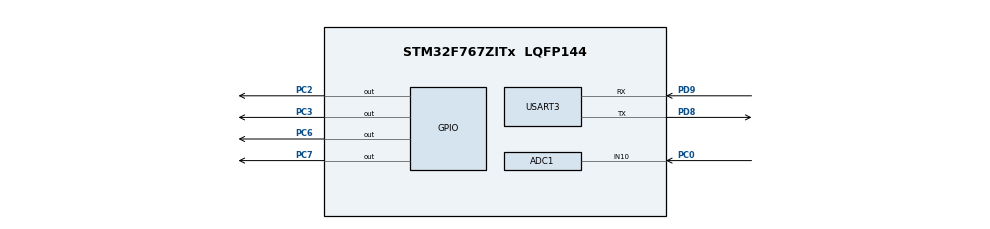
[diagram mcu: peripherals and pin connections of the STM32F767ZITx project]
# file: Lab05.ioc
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ADC1.Channel-0\#ChannelRegularConversion=ADC_CHANNEL_10
ADC1.ClockPrescaler=ADC_CLOCK_SYNC_PCLK_DIV4
ADC1.ContinuousConvMode=ENABLE
ADC1.EOCSelection=ADC_EOC_SEQ_CONV
ADC1.NbrOfConversionFlag=1
ADC1.Rank-0\#ChannelRegularConversion=1
ADC1.SamplingTime-0\#ChannelRegularConversion=ADC_SAMPLETIME_3CYCLES
ADC1.master=1
Dma.ADC1.0.Direction=DMA_PERIPH_TO_MEMORY
Dma.ADC1.0.FIFOMode=DMA_FIFOMODE_DISABLE
Dma.ADC1.0.Instance=DMA2_Stream0
Dma.ADC1.0.MemDataAlignment=DMA_MDATAALIGN_WORD
Dma.ADC1.0.MemInc=DMA_MINC_ENABLE
Dma.ADC1.0.Mode=DMA_CIRCULAR
Dma.ADC1.0.PeriphDataAlignment=DMA_PDATAALIGN_WORD
Dma.ADC1.0.PeriphInc=DMA_PINC_DISABLE
Dma.ADC1.0.Priority=DMA_PRIORITY_LOW
Dma.Request0=ADC1
Mcu.Family=STM32F7
Mcu.Name=STM32F767ZITx
Mcu.Package=LQFP144
NVIC.DMA2_Stream0_IRQn=true\:1\:0\:true\:false\:true\:false\:true\:true
NVIC.PriorityGroup=NVIC_PRIORITYGROUP_2
PC0.Signal=ADCx_IN10
PC2.Signal=GPIO_Output
PC3.Signal=GPIO_Output
PC6.Signal=GPIO_Output
PC7.Signal=GPIO_Output
PD8.Mode=Asynchronous
PD8.Signal=USART3_TX
PD9.Mode=Asynchronous
PD9.Signal=USART3_RX
ProjectManager.HeapSize=0x200
ProjectManager.StackSize=0x400
ProjectManager.TargetToolchain=STM32CubeIDE
RCC.HSE_VALUE=25000000
RCC.HSI_VALUE=16000000
RCC.LSE_VALUE=32768
RCC.USBFreq_Value=96000000
RCC.VCOOutputFreq_Value=192000000
SH.ADCx_IN10.0=ADC1_IN10,IN10
USART3.VirtualMode-Asynchronous=VM_ASYNC
board=custom

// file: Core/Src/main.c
/* USER CODE BEGIN Header */
/**
  ******************************************************************************
  * @file           : main.c
  * @brief          : Main program body
  ******************************************************************************
  * @attention
  *
  * Copyright (c) 2023 STMicroelectronics.
  * All rights reserved.
  *
  * This software is licensed under terms that can be found in the LICENSE file
  * in the root directory of this software component.
  * If no LICENSE file comes with this software, it is provided AS-IS.
  *
  ******************************************************************************
  */
/* USER CODE END Header */
#include "main.h"
#include "adc.h"
#include "dma.h"
#include "usart.h"
#include "gpio.h"

/* USER CODE BEGIN Includes */
#include "stdio.h"
#include "string.h"
/* USER CODE END Includes */

/* USER CODE BEGIN PV */
uint32_t adc_val[2];
int adc_avg_8;
int adc_avg_16;
/* USER CODE END PV */

void SystemClock_Config(void);

/* USER CODE BEGIN 0 */
int average8(int x)
{
	static int samples[8];
	static int i = 0;
	static int total = 0;

	total += x - samples[i];
	samples[i] = x;
	i = (i==7 ? 0: i+1);

//	Divide by 8 (shift right 3)
	return total>>3;
}

int average16(int x)
{
	static int samples[16];
	static int i = 0;
	static int total = 0;

	total += x - samples[i];
	samples[i] = x;
	i = (i==15 ? 0: i+1);

//	Divide by 16 (shift right 4)
	return total>>4;
}

void defaultDelay()
{
	HAL_Delay(100);
}

void delay(uint32_t delay)
{
	HAL_Delay(delay);
}

void printOut(char text[])
{
	while(__HAL_UART_GET_FLAG(&huart3,UART_FLAG_TC)==RESET){}
	HAL_UART_Transmit(&huart3, (uint8_t*) text, strlen(text), 100);
	delay(20);
}

void printOutLine(char text[])
{
	printOut(text);
	printOut("\n\r");
}

void displayHEX(uint32_t number)
{
	char hexString[9];
	sprintf(hexString, "%8x", (unsigned int) number);

	printOut(hexString);
}

void lightLed(int voltage)
{
	uint16_t pins[4] = {
			  GPIO_PIN_2,
			  GPIO_PIN_3,
			  GPIO_PIN_6,
			  GPIO_PIN_7,
	};

	int led;
	int voltRatio = 0xFFF/5;
	if (voltage < voltRatio)
	{
		led = 0;
	}
	else if (voltage < voltRatio*2)
	{
		led = 1;
	}
	else if (voltage < voltRatio*3)
	{
		led = 2;
	}
	else if (voltage < voltRatio*4)
	{
		led = 3;
	}
	else
	{
		led = 4;
	}

    for (int i=0; i<4; i++)
    {
        if(i<led)
        {
            HAL_GPIO_WritePin(GPIOC, pins[i], GPIO_PIN_SET);
        }
        else
        {
            HAL_GPIO_WritePin(GPIOC, pins[i], GPIO_PIN_RESET);
        }
    }
}

void getValueAdc(volatile uint32_t *adcVolt)
{
	while (HAL_ADC_PollForConversion(&hadc1, 100) != HAL_OK) {}
	uint32_t readValue = HAL_ADC_GetValue(&hadc1);

	adc_avg_8 = average8(readValue);
	adc_avg_16 = average16(readValue);

	lightLed(adc_avg_16);

	char outputText[50];
	float voltage = (float) readValue *3.3/4096;
	sprintf(outputText, "ADC1_CH1_CH10 \t 0x%08X \t Vin = %.2f V", (unsigned int) readValue,  voltage);
	printOutLine(outputText);
}

/* USER CODE END 0 */

int main(void)
{

  /* MCU Configuration--------------------------------------------------------*/

  /* Reset of all peripherals, Initializes the Flash interface and the Systick. */
  HAL_Init();

  /* Configure the system clock */
  SystemClock_Config();

  /* Initialize all configured peripherals */
  MX_GPIO_Init();
  MX_DMA_Init();
  MX_USART3_UART_Init();
  MX_ADC1_Init();

  /* Infinite loop */
  /* USER CODE BEGIN WHILE */
  volatile uint32_t adcVolt = 0;
  HAL_ADC_Start(&hadc1);

  while (1)
  {
    /* USER CODE END WHILE */

    /* USER CODE BEGIN 3 */
//	  question5Aun();
	  getValueAdc(&adcVolt);
	  delay(400);

//	  displayHEX(hex1);
  }
  /* USER CODE END 3 */
}

void SystemClock_Config(void)
{
  RCC_OscInitTypeDef RCC_OscInitStruct = {0};
  RCC_ClkInitTypeDef RCC_ClkInitStruct = {0};

  /** Configure the main internal regulator output voltage
  */
  __HAL_RCC_PWR_CLK_ENABLE();
  __HAL_PWR_VOLTAGESCALING_CONFIG(PWR_REGULATOR_VOLTAGE_SCALE3);

  /** Initializes the RCC Oscillators according to the specified parameters
  * in the RCC_OscInitTypeDef structure.
  */
  RCC_OscInitStruct.OscillatorType = RCC_OSCILLATORTYPE_HSI;
  RCC_OscInitStruct.HSIState = RCC_HSI_ON;
  RCC_OscInitStruct.HSICalibrationValue = RCC_HSICALIBRATION_DEFAULT;
  RCC_OscInitStruct.PLL.PLLState = RCC_PLL_NONE;
  if (HAL_RCC_OscConfig(&RCC_OscInitStruct) != HAL_OK)
  {
    Error_Handler();
  }

  /** Initializes the CPU, AHB and APB buses clocks
  */
  RCC_ClkInitStruct.ClockType = RCC_CLOCKTYPE_HCLK|RCC_CLOCKTYPE_SYSCLK
                              |RCC_CLOCKTYPE_PCLK1|RCC_CLOCKTYPE_PCLK2;
  RCC_ClkInitStruct.SYSCLKSource = RCC_SYSCLKSOURCE_HSI;
  RCC_ClkInitStruct.AHBCLKDivider = RCC_SYSCLK_DIV1;
  RCC_ClkInitStruct.APB1CLKDivider = RCC_HCLK_DIV1;
  RCC_ClkInitStruct.APB2CLKDivider = RCC_HCLK_DIV1;

  if (HAL_RCC_ClockConfig(&RCC_ClkInitStruct, FLASH_LATENCY_0) != HAL_OK)
  {
    Error_Handler();
  }
}

/* USER CODE BEGIN 4 */

void question5Aun(uint32_t *adcVolt, uint16_t pins[])
{
	while (HAL_ADC_PollForConversion(&hadc1, 100) != HAL_OK) {}
	*adcVolt = HAL_ADC_GetValue(&hadc1);

	char str[80];
    uint32_t val = average16(*adcVolt);
    int led = 0;
       if(val < 0xfff/5)
       {

       }
       else if (val < 0xfff/5*2)
       {
           led=1;
       }
       else if(val < 0xfff/5*3){
           led=2;
       }
       else if(val < 0xfff/5*4){
           led=3;
       }
       else{
           led=4;
       }
       for(int i=0;i<4;i++){
           if(i<led){
               HAL_GPIO_WritePin(GPIOC,pins[i],GPIO_PIN_SET);
           }
           else{
               HAL_GPIO_WritePin(GPIOC,pins[i],GPIO_PIN_RESET);
           }
       }
       float voltage = (float)val/(float)4096*3.3;
       sprintf(str,"ADC1_CH1_CH10 %x Vin = %f V\r\n", (unsigned int) adc_val, voltage);
       printOut(str);
}
/* USER CODE END 4 */

void Error_Handler(void)
{
  __disable_irq();
  while (1)
  {
  }
}
